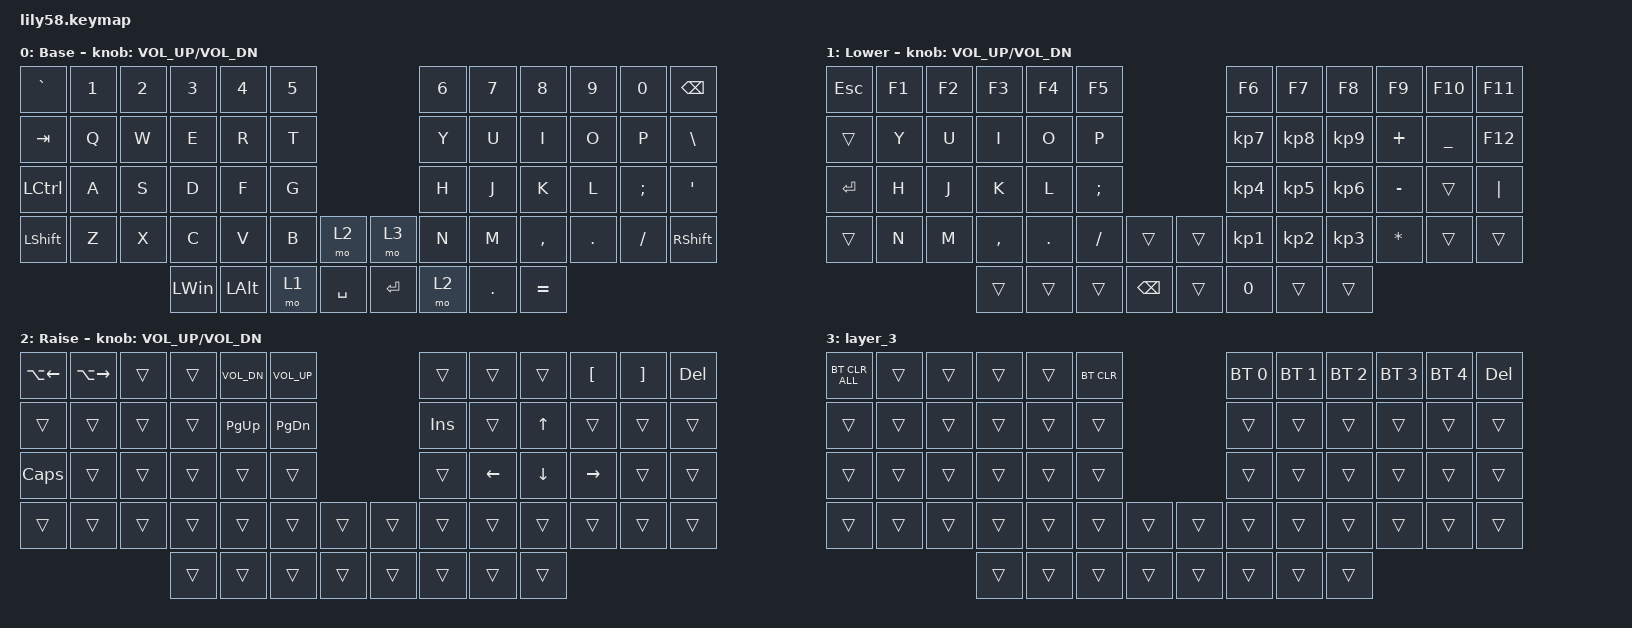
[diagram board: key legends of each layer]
/*
 * Copyright (c) 2020 The ZMK Contributors
 *
 * SPDX-License-Identifier: MIT
 */

#include <behaviors.dtsi>
#include <dt-bindings/zmk/bt.h>
#include <dt-bindings/zmk/keys.h>

/ {
    combos {
        compatible = "zmk,combos";

        page.up {
            bindings = <&kp PG_UP>;
            key-positions = <15 16>;
        };

        page.down {
            bindings = <&kp PG_DN>;
            key-positions = <27 28>;
        };
    };

    keymap {
        compatible = "zmk,keymap";

        default_layer {
            // ------------------------------------------------------------------------------------------------------------
            // |  ESC  |  1  |  2  |  3   |  4   |  5   |                   |  6   |  7    |  8    |  9   |   0   |   `   |
            // |  TAB  |  Q  |  W  |  E   |  R   |  T   |                   |  Y   |  U    |  I    |  O   |   P   |   -   |
            // |  CTRL |  A  |  S  |  D   |  F   |  G   |                   |  H   |  J    |  K    |  L   |   ;   |   '   |
            // | SHIFT |  Z  |  X  |  C   |  V   |  B   |   "["  |  |  "]"  |  N   |  M    |  ,    |  .   |   /   | SHIFT |
            //                     | ALT  | GUI  | LOWER|  SPACE |  | ENTER | RAISE| BSPC  | GUI   |

            display-name = "Base";
            bindings = <
&kp GRAVE  &kp N1  &kp N2  &kp N3        &kp N4        &kp N5                        &kp N6  &kp N7   &kp N8     &kp N9   &kp N0    &kp BACKSPACE
&kp TAB    &kp Q   &kp W   &kp E         &kp R         &kp T                         &kp Y   &kp U    &kp I      &kp O    &kp P     &kp BACKSLASH
&kp LCTRL  &kp A   &kp S   &kp D         &kp F         &kp G                         &kp H   &kp J    &kp K      &kp L    &kp SEMI  &kp SQT
&kp LSHFT  &kp Z   &kp X   &kp C         &kp V         &kp B   &mo 2        &mo 3    &kp N   &kp M    &kp COMMA  &kp DOT  &kp FSLH  &kp RSHFT
                           &kp LEFT_WIN  &kp LEFT_ALT  &mo 1   &kp SPACE    &kp RET  &mo 2   &kp DOT  &kp EQUAL
            >;

            sensor-bindings = <&inc_dec_kp C_VOL_UP C_VOL_DN>;
        };

        lower_layer {
            // ------------------------------------------------------------------------------------------------------------
            // | BTCLR | BT1 | BT2 |  BT3 |  BT4 |  BT5 |                   |      |       |       |      |       |       |
            // |  F1   |  F2 |  F3 |  F4  |  F5  |  F6  |                   |  F7  |  F8   |  F9   |  F10 |  F11  |  F12  |
            // |   `   |  !  |  @  |  #   |  $   |  %   |                   |  ^   |  &    |  *    |  (   |   )   |   ~   |
            // |       |     |     |      |      |      |        |  |       |      |  _    |  +    |  {   |   }   |  "|"  |
            //                     |      |      |      |        |  |       |      |       |       |

            display-name = "Lower";
            bindings = <
&kp ESCAPE  &kp F1  &kp F2  &kp F3     &kp F4   &kp F5                                  &kp F6           &kp F7           &kp F8           &kp F9        &kp F10         &kp F11
&trans      &kp Y   &kp U   &kp I      &kp O    &kp P                                   &kp KP_NUMBER_7  &kp KP_NUMBER_8  &kp KP_NUMBER_9  &kp PLUS      &kp UNDERSCORE  &kp F12
&kp ENTER   &kp H   &kp J   &kp K      &kp L    &kp SEMICOLON                           &kp KP_NUMBER_4  &kp KP_NUMBER_5  &kp KP_NUMBER_6  &kp MINUS     &trans          &kp PIPE
&trans      &kp N   &kp M   &kp COMMA  &kp DOT  &kp SLASH      &trans           &trans  &kp KP_NUMBER_1  &kp KP_NUMBER_2  &kp KP_NUMBER_3  &kp ASTERISK  &trans          &trans
                            &trans     &trans   &trans         &kp BACKSPACE    &trans  &kp NUMBER_0     &trans           &trans
            >;

            sensor-bindings = <&inc_dec_kp C_VOL_UP C_VOL_DN>;
        };

        raise_layer {
            // ------------------------------------------------------------------------------------------------------------
            // |       |     |     |      |      |      |                   |      |       |       |      |       |       |
            // |   `   |  1  |  2  |  3   |  4   |  5   |                   |  6   |   7   |   8   |  9   |   0   |       |
            // |   F1  |  F2 |  F3 |  F4  |  F5  |  F6  |                   |      |   <-  |   v   |  ^   |  ->   |       |
            // |   F7  |  F8 |  F9 |  F10 |  F11 |  F12 |        |  |       |  +   |   -   |   =   |  [   |   ]   |   \   |
            //                     |      |      |      |        |  |       |      |       |       |

            display-name = "Raise";
            bindings = <
&kp LA(LEFT)  &kp LA(RIGHT)  &trans  &trans  &kp C_VOL_DN  &kp C_VOLUME_UP                    &trans   &trans    &trans        &kp LEFT_BRACKET  &kp RIGHT_BRACKET  &kp DELETE
&trans        &trans         &trans  &trans  &kp PG_UP     &kp PG_DN                          &kp INS  &trans    &kp UP_ARROW  &trans            &trans             &trans
&kp CAPS      &trans         &trans  &trans  &trans        &trans                             &trans   &kp LEFT  &kp DOWN      &kp RIGHT         &trans             &trans
&trans        &trans         &trans  &trans  &trans        &trans           &trans    &trans  &trans   &trans    &trans        &trans            &trans             &trans
                                     &trans  &trans        &trans           &trans    &trans  &trans   &trans    &trans
            >;

            sensor-bindings = <&inc_dec_kp C_VOL_UP C_VOL_DN>;
        };

        layer_3 {
            bindings = <
&bt BT_CLR_ALL  &trans  &trans  &trans  &trans  &bt BT_CLR                    &bt BT_SEL 0  &bt BT_SEL 1  &bt BT_SEL 2  &bt BT_SEL 3  &bt BT_SEL 4  &kp DELETE
&trans          &trans  &trans  &trans  &trans  &trans                        &trans        &trans        &trans        &trans        &trans        &trans
&trans          &trans  &trans  &trans  &trans  &trans                        &trans        &trans        &trans        &trans        &trans        &trans
&trans          &trans  &trans  &trans  &trans  &trans      &trans    &trans  &trans        &trans        &trans        &trans        &trans        &trans
                                &trans  &trans  &trans      &trans    &trans  &trans        &trans        &trans
            >;
        };
    };
};
